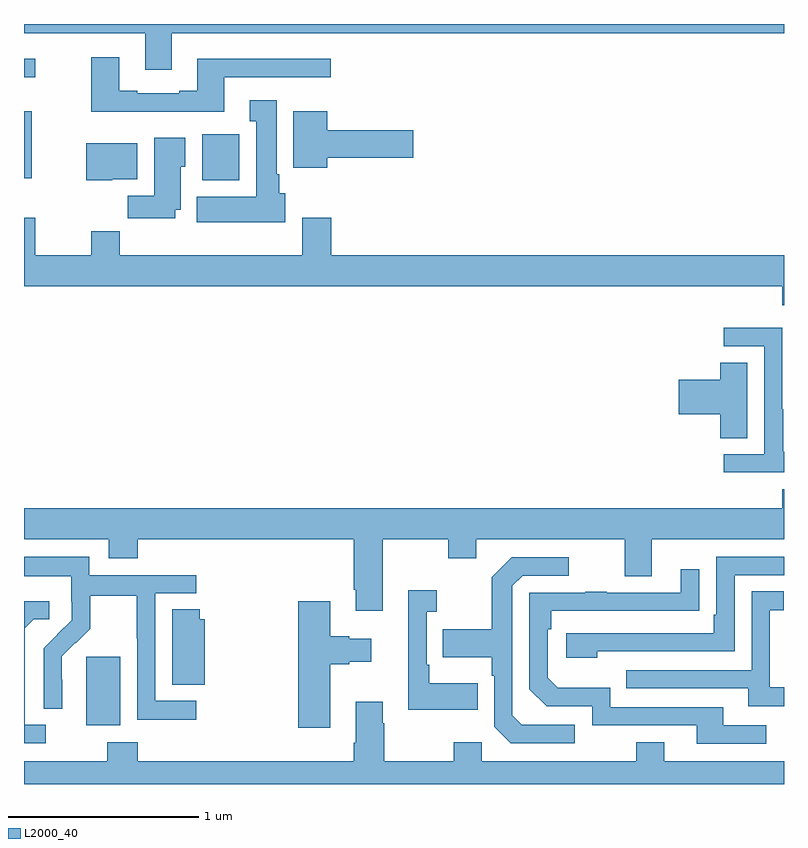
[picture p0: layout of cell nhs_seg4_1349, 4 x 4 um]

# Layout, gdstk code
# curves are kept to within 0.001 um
import gdstk
lib = gdstk.Library(unit=1e-6, precision=1e-09)
def R(c, l, rs):  # rectangles x0, y0, x1, y1
    for r in rs: c.add(gdstk.rectangle(r[:2], r[2:], *l))
def P(c, l, *ps):  # polygons
    for p in ps: c.add(gdstk.Polygon(p, *l))
L2000_40 = (2000, 40)

nhs_seg4_1349 = lib.new_cell('nhs_seg4_1349')
R(nhs_seg4_1349, L2000_40, [(181.328,761.21,181.507,761.571), (181.937,764.078,182.134,764.32), (181,764.088,181.042,764.44), (181,764.619,181.06,764.716)])
P(nhs_seg4_1349, L2000_40, [(181.777,764.852),(185,764.852),(185,764.9),(181,764.9),(181,764.852),(181.637,764.852),(181.637,764.658),(181.777,764.658)],
  [(182.053,764.619),(182.614,764.619),(182.614,764.716),(181.913,764.716),(181.913,764.548),(181.817,764.548),(181.817,764.535),(181.597,764.535),(181.597,764.548),(181.501,764.548),(181.501,764.725),(181.354,764.725),(181.354,764.438),(182.053,764.438)],
  [(182.374,764.01),(182.344,764.01),(182.344,764.11),(182.329,764.11),(182.329,764.5),(182.189,764.5),(182.189,764.387),(182.222,764.387),(182.222,763.99),(181.91,763.99),(181.91,763.856),(182.374,763.856)],
  [(182.596,764.195),(183.049,764.195),(183.049,764.342),(182.596,764.342),(182.596,764.44),(182.417,764.44),(182.417,764.144),(182.596,764.144)],
  [(181.795,763.922),(181.825,763.922),(181.825,764.148),(181.849,764.148),(181.849,764.302),(181.685,764.302),(181.685,763.996),(181.546,763.996),(181.546,763.878),(181.795,763.878)],
  [(181.464,764.084),(181.597,764.084),(181.597,764.272),(181.328,764.272),(181.328,764.078),(181.464,764.078)],
  [(185,763.684),(182.618,763.684),(182.618,763.879),(182.465,763.879),(182.465,763.684),(181.505,763.684),(181.505,763.808),(181.354,763.808),(181.354,763.684),(181.059,763.684),(181.059,763.879),(181,763.879),(181,763.52),(184.991,763.52),(184.991,763.421),(185,763.421)],
  [(185,762.649),(184.995,762.649),(184.995,762.872),(184.992,762.872),(184.992,763.302),(184.683,763.302),(184.683,763.203),(184.896,763.203),(184.896,762.636),(184.683,762.636),(184.683,762.54),(185,762.54)],
  [(184.807,763.118),(184.664,763.118),(184.664,763.028),(184.446,763.028),(184.446,762.845),(184.664,762.845),(184.664,762.721),(184.807,762.721)],
  [(181,762.188),(181.445,762.188),(181.445,762.089),(181.598,762.089),(181.598,762.188),(182.735,762.188),(182.735,761.923),(182.747,761.923),(182.747,761.811),(182.887,761.811),(182.887,762.188),(183.232,762.188),(183.232,762.089),(183.379,762.089),(183.379,762.188),(184.163,762.188),(184.163,761.994),(184.303,761.994),(184.303,762.188),(185,762.188),(185,762.451),(184.991,762.451),(184.991,762.352),(181,762.352)],
  [(181.906,761.337),(181.692,761.337),(181.692,761.904),(181.906,761.904),(181.906,762),(181.344,762),(181.344,762.097),(181,762.097),(181,761.993),(181.248,761.993),(181.248,761.859),(181.25,761.859),(181.25,761.762),(181.104,761.614),(181.104,761.296),(181.2,761.296),(181.199,761.573),(181.269,761.643),(181.272,761.64),(181.349,761.717),(181.349,761.892),(181.594,761.892),(181.594,761.668),(181.596,761.668),(181.596,761.239),(181.906,761.239)],
  [(184.016,761.598),(184.74,761.598),(184.74,762),(185,762),(185,762.096),(184.644,762.096),(184.644,761.791),(184.631,761.791),(184.631,761.694),(183.855,761.694),(183.855,761.564),(184.016,761.564)],
  [(183.898,761.211),(183.621,761.211),(183.57,761.262),(183.57,761.943),(183.624,761.997),(183.868,761.997),(183.868,762.093),(183.567,762.093),(183.462,761.987),(183.462,761.715),(183.205,761.715),(183.205,761.567),(183.462,761.567),(183.462,761.471),(183.474,761.471),(183.474,761.202),(183.561,761.115),(183.898,761.115)],
  [(184.906,761.208),(184.681,761.208),(184.681,761.304),(184.086,761.304),(184.086,761.407),(183.809,761.407),(183.756,761.46),(183.756,761.714),(183.776,761.714),(183.776,761.811),(184.553,761.812),(184.553,762.031),(184.457,762.031),(184.457,761.907),(184.067,761.907),(184.067,761.912),(183.955,761.912),(183.955,761.907),(183.66,761.907),(183.66,761.4),(183.75,761.31),(183.99,761.31),(183.99,761.208),(184.541,761.208),(184.541,761.112),(184.906,761.112)],
  [(183.389,761.431),(183.133,761.431),(183.133,761.527),(183.12,761.527),(183.12,761.807),(183.172,761.807),(183.172,761.92),(183.023,761.92),(183.023,761.291),(183.389,761.291)],
  [(185,761.409),(184.926,761.409),(184.926,761.814),(184.999,761.814),(184.999,761.915),(184.83,761.915),(184.83,761.499),(184.171,761.499),(184.171,761.403),(184.811,761.403),(184.811,761.309),(185,761.309)],
  [(182.611,761.531),(182.711,761.531),(182.711,761.543),(182.827,761.543),(182.827,761.665),(182.711,761.665),(182.711,761.678),(182.611,761.678),(182.611,761.863),(182.444,761.863),(182.444,761.196),(182.611,761.196)],
  [(181.114,761.211),(181.003,761.211),(181.003,761.719),(181.05,761.766),(181.132,761.766),(181.132,761.863),(181,761.863),(181,761.115),(181.114,761.115)],
  [(181.952,761.766),(181.925,761.766),(181.925,761.819),(181.781,761.819),(181.781,761.422),(181.952,761.422)],
  [(185,761.02),(184.369,761.02),(184.369,761.119),(184.222,761.119),(184.222,761.02),(183.408,761.02),(183.408,761.119),(183.262,761.119),(183.262,761.02),(182.895,761.02),(182.895,761.219),(182.887,761.219),(182.887,761.332),(182.747,761.332),(182.747,761.116),(182.735,761.116),(182.735,761.02),(181.598,761.02),(181.598,761.119),(181.438,761.119),(181.438,761.02),(181,761.02),(181,760.9),(185,760.9)])

lib.write_gds('nhs_seg4_1349.gds')
